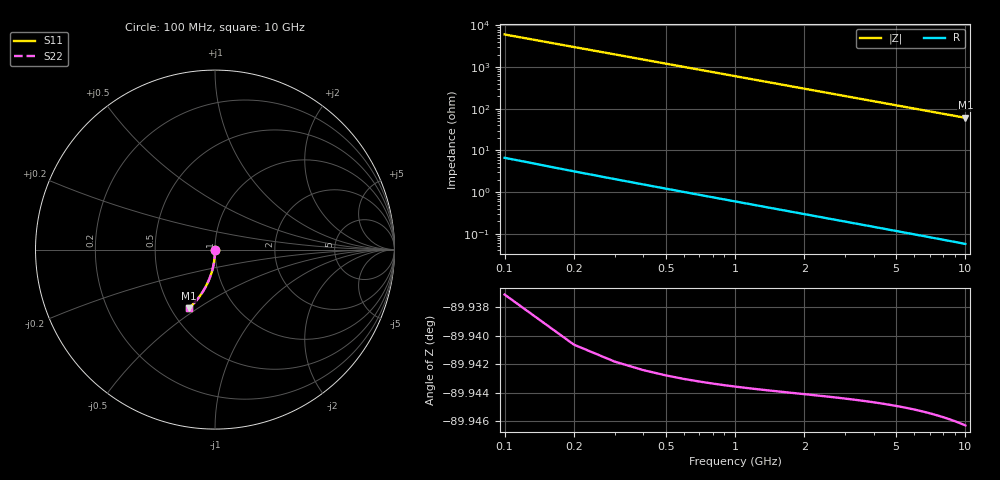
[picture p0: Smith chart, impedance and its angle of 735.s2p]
# Hz S RI R 50.00
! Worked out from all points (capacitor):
!   100 points, 100 MHz to 10 GHz, reference 50 ohm
!   read as one part in shunt: C = 262 fF near 100 MHz
!   lowest |Z| = 60.8 ohm at 10 GHz (marker M1)
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1e8  8.36e-05 -0.00385  0.9999 -0.00438  0.9999 -0.00438  8.36e-05 -0.00385
2e8  2.98e-05 -0.0077  0.9998 -0.00875  0.9998 -0.00875  2.98e-05 -0.0077
3e8  -5.79e-05 -0.0115  0.9997 -0.0131  0.9997 -0.0131  -5.79e-05 -0.0115
4e8  -0.000179 -0.0154  0.9996 -0.0175  0.9996 -0.0175  -0.000179 -0.0154
5e8  -0.000334 -0.0192  0.9994 -0.0219  0.9994 -0.0219  -0.000334 -0.0192
6e8  -0.000523 -0.0231  0.9993 -0.0262  0.9993 -0.0262  -0.000523 -0.0231
7e8  -0.000746 -0.0269  0.999 -0.0306  0.999 -0.0306  -0.000746 -0.0269
8e8  -0.001 -0.0308  0.9988 -0.035  0.9988 -0.035  -0.001 -0.0308
9e8  -0.00129 -0.0346  0.9985 -0.0393  0.9985 -0.0393  -0.00129 -0.0346
1.1e9  -0.00197 -0.0423  0.9978 -0.0481  0.9978 -0.0481  -0.00197 -0.0423
1.4e9  -0.00324 -0.0537  0.9965 -0.0611  0.9965 -0.0611  -0.00324 -0.0537
1.8e9  -0.0054 -0.0689  0.9943 -0.0784  0.9943 -0.0784  -0.0054 -0.0689
2.1e9  -0.00736 -0.0802  0.9924 -0.0913  0.9924 -0.0913  -0.00736 -0.0802
2.5e9  -0.0104 -0.0952  0.9893 -0.1084  0.9893 -0.1084  -0.0104 -0.0952
2.9e9  -0.014 -0.1101  0.9857 -0.1254  0.9857 -0.1254  -0.014 -0.1101
3.4e9  -0.0192 -0.1284  0.9804 -0.1464  0.9804 -0.1464  -0.0192 -0.1284
4.2e9  -0.029 -0.157  0.9705 -0.1792  0.9705 -0.1792  -0.029 -0.157
5.1e9  -0.0423 -0.188  0.9571 -0.215  0.9571 -0.215  -0.0423 -0.188
5.9e9  -0.0559 -0.2143  0.9433 -0.2456  0.9433 -0.2456  -0.0559 -0.2143
6.7e9  -0.0711 -0.2394  0.928 -0.275  0.928 -0.275  -0.0711 -0.2394
8.4e9  -0.1077 -0.288  0.891 -0.3327  0.891 -0.3327  -0.1077 -0.288
1e10  -0.1466 -0.3274  0.8517 -0.3808  0.8517 -0.3808  -0.1466 -0.3274
